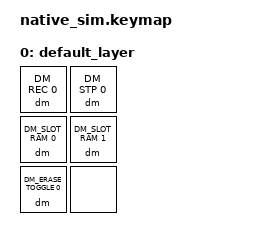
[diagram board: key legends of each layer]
#include <dt-bindings/zmk/keys.h>
#include <behaviors.dtsi>
#include <dt-bindings/zmk/kscan_mock.h>
#include <behaviors/dynamic_macro.dtsi>
#include <dt-bindings/zmk/dynamic_macros.h>

&kscan {
    rows = <3>;
    columns = <2>;
    exit-after;
    events = <
        /* DM_ERASE_TOGGLE: ON -> OFF (auto-erase enabled by conf, toggle turns it off) */
        /* Types ">FB:ERASE OFF" */
        ZMK_MOCK_PRESS(2,0,10)
        ZMK_MOCK_RELEASE(2,0,2000)
        /* DM_ERASE_TOGGLE again: OFF -> ON */
        /* Types ">FB:ERASE ON" */
        ZMK_MOCK_PRESS(2,0,10)
        ZMK_MOCK_RELEASE(2,0,2000)
    >;
};

/ {
    keymap {
        compatible = "zmk,keymap";
        default_layer {
            bindings = <
                &dm DM_REC 0          &dm DM_STP 0
                &dm DM_SLOT_RAM 0     &dm DM_SLOT_RAM 1
                &dm DM_ERASE_TOGGLE 0 &none
            >;
        };
    };
};
